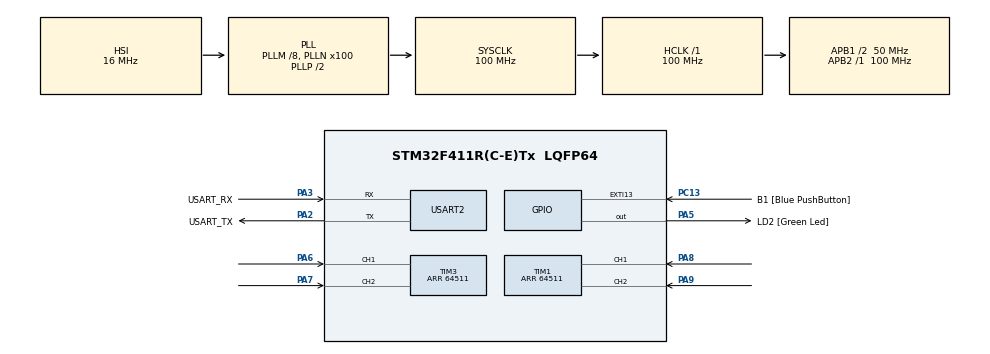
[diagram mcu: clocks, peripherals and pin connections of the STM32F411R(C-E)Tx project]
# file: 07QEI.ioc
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Mcu.Family=STM32F4
Mcu.Name=STM32F411R(C-E)Tx
Mcu.Package=LQFP64
NVIC.PriorityGroup=NVIC_PRIORITYGROUP_0
PA13.GPIO_Label=TMS
PA13.Mode=Serial_Wire
PA13.Signal=SYS_JTMS-SWDIO
PA14.GPIO_Label=TCK
PA14.Mode=Serial_Wire
PA14.Signal=SYS_JTCK-SWCLK
PA2.GPIO_Label=USART_TX
PA2.Mode=Asynchronous
PA2.Signal=USART2_TX
PA3.GPIO_Label=USART_RX
PA3.Mode=Asynchronous
PA3.Signal=USART2_RX
PA5.GPIO_Label=LD2 [Green Led]
PA5.Signal=GPIO_Output
PA6.Signal=S_TIM3_CH1
PA7.Signal=S_TIM3_CH2
PA8.Signal=S_TIM1_CH1
PA9.Signal=S_TIM1_CH2
PB3.GPIO_Label=SWO
PB3.Signal=SYS_JTDO-SWO
PC13-ANTI_TAMP.GPIO_Label=B1 [Blue PushButton]
PC13-ANTI_TAMP.GPIO_ModeDefaultEXTI=GPIO_MODE_IT_FALLING
PC13-ANTI_TAMP.Signal=GPXTI13
PC14-OSC32_IN.Mode=LSE-External-Oscillator
PC14-OSC32_IN.Signal=RCC_OSC32_IN
PC15-OSC32_OUT.Mode=LSE-External-Oscillator
PC15-OSC32_OUT.Signal=RCC_OSC32_OUT
PH0\ -\ OSC_IN.Mode=HSE-External-Clock-Source
PH0\ -\ OSC_IN.Signal=RCC_OSC_IN
PH1\ -\ OSC_OUT.Mode=HSE-External-Clock-Source
PH1\ -\ OSC_OUT.Signal=RCC_OSC_OUT
ProjectManager.HeapSize=0x200
ProjectManager.StackSize=0x400
ProjectManager.TargetToolchain=STM32CubeIDE
RCC.48MHZClocksFreq_Value=50000000
RCC.AHBFreq_Value=100000000
RCC.APB1CLKDivider=RCC_HCLK_DIV2
RCC.APB1Freq_Value=50000000
RCC.APB1TimFreq_Value=100000000
RCC.APB2Freq_Value=100000000
RCC.APB2TimFreq_Value=100000000
RCC.CortexFreq_Value=100000000
RCC.FLatency-AdvancedSettings=FLASH_LATENCY_3
RCC.HCLKFreq_Value=100000000
RCC.HSE_VALUE=8000000
RCC.HSI_VALUE=16000000
RCC.PLLM=8
RCC.PLLN=100
RCC.SYSCLKFreq_VALUE=100000000
RCC.SYSCLKSource=RCC_SYSCLKSOURCE_PLLCLK
RCC.VCOOutputFreq_Value=200000000
SH.S_TIM1_CH1.0=TIM1_CH1,Encoder_Interface
SH.S_TIM1_CH2.0=TIM1_CH2,Encoder_Interface
SH.S_TIM3_CH1.0=TIM3_CH1,Encoder_Interface
SH.S_TIM3_CH2.0=TIM3_CH2,Encoder_Interface
TIM1.EncoderMode=TIM_ENCODERMODE_TI12
TIM1.Period=64511
TIM2.Prescaler=100
TIM3.EncoderMode=TIM_ENCODERMODE_TI12
TIM3.Period=64511
USART2.VirtualMode=VM_ASYNC
VP_TIM2_VS_ClockSourceINT.Mode=Internal
board=NUCLEO-F411RE

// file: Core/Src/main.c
/* USER CODE BEGIN Header */
/**
 ******************************************************************************
 * @file           : main.c
 * @brief          : Main program body
 ******************************************************************************
 * @attention
 *
 * <h2><center>&copy; Copyright (c) 2021 STMicroelectronics.
 * All rights reserved.</center></h2>
 *
 * This software component is licensed by ST under BSD 3-Clause license,
 * the "License"; You may not use this file except in compliance with the
 * License. You may obtain a copy of the License at:
 *                        opensource.org/licenses/BSD-3-Clause
 *
 ******************************************************************************
 */
/* USER CODE END Header */
#include "main.h"

/* USER CODE BEGIN Includes */
#define _USE_MATH_DEFINES
#include "math.h"
/* USER CODE END Includes */

/* USER CODE BEGIN PD */
#define PulsePerRev 3072 //12[encoder fin] * 64[gearbox] * 4[QEI]

/* USER CODE END PD */

TIM_HandleTypeDef htim1;
TIM_HandleTypeDef htim2;
TIM_HandleTypeDef htim3;

UART_HandleTypeDef huart2;

/* USER CODE BEGIN PV */
uint64_t _micros = 0;
float DegRel =0;
float DegAbs =0;
float RadRel =0;
float RadAbs =0;

/* USER CODE END PV */

void SystemClock_Config(void);
static void MX_GPIO_Init(void);
static void MX_USART2_UART_Init(void);
static void MX_TIM1_Init(void);
static void MX_TIM2_Init(void);
static void MX_TIM3_Init(void);
/* USER CODE BEGIN PFP */
uint64_t micros();
void UpdatePosition();
/* USER CODE END PFP */

int main(void)
{

  /* MCU Configuration--------------------------------------------------------*/

  /* Reset of all peripherals, Initializes the Flash interface and the Systick. */
  HAL_Init();

  /* Configure the system clock */
  SystemClock_Config();

  /* Initialize all configured peripherals */
  MX_GPIO_Init();
  MX_USART2_UART_Init();
  MX_TIM1_Init();
  MX_TIM2_Init();
  MX_TIM3_Init();
  /* USER CODE BEGIN 2 */
	HAL_TIM_Base_Start_IT(&htim2);
	HAL_TIM_Encoder_Start(&htim1, TIM_CHANNEL_ALL);
  /* USER CODE END 2 */

  /* Infinite loop */
	while (1)
	{

    /* USER CODE BEGIN 3 */
		UpdatePosition();

	}
  /* USER CODE END 3 */
}

void SystemClock_Config(void)
{
  RCC_OscInitTypeDef RCC_OscInitStruct = {0};
  RCC_ClkInitTypeDef RCC_ClkInitStruct = {0};

  /** Configure the main internal regulator output voltage
  */
  __HAL_RCC_PWR_CLK_ENABLE();
  __HAL_PWR_VOLTAGESCALING_CONFIG(PWR_REGULATOR_VOLTAGE_SCALE1);
  /** Initializes the RCC Oscillators according to the specified parameters
  * in the RCC_OscInitTypeDef structure.
  */
  RCC_OscInitStruct.OscillatorType = RCC_OSCILLATORTYPE_HSI;
  RCC_OscInitStruct.HSIState = RCC_HSI_ON;
  RCC_OscInitStruct.HSICalibrationValue = RCC_HSICALIBRATION_DEFAULT;
  RCC_OscInitStruct.PLL.PLLState = RCC_PLL_ON;
  RCC_OscInitStruct.PLL.PLLSource = RCC_PLLSOURCE_HSI;
  RCC_OscInitStruct.PLL.PLLM = 8;
  RCC_OscInitStruct.PLL.PLLN = 100;
  RCC_OscInitStruct.PLL.PLLP = RCC_PLLP_DIV2;
  RCC_OscInitStruct.PLL.PLLQ = 4;
  if (HAL_RCC_OscConfig(&RCC_OscInitStruct) != HAL_OK)
  {
    Error_Handler();
  }
  /** Initializes the CPU, AHB and APB buses clocks
  */
  RCC_ClkInitStruct.ClockType = RCC_CLOCKTYPE_HCLK|RCC_CLOCKTYPE_SYSCLK
                              |RCC_CLOCKTYPE_PCLK1|RCC_CLOCKTYPE_PCLK2;
  RCC_ClkInitStruct.SYSCLKSource = RCC_SYSCLKSOURCE_PLLCLK;
  RCC_ClkInitStruct.AHBCLKDivider = RCC_SYSCLK_DIV1;
  RCC_ClkInitStruct.APB1CLKDivider = RCC_HCLK_DIV2;
  RCC_ClkInitStruct.APB2CLKDivider = RCC_HCLK_DIV1;

  if (HAL_RCC_ClockConfig(&RCC_ClkInitStruct, FLASH_LATENCY_3) != HAL_OK)
  {
    Error_Handler();
  }
}

static void MX_TIM1_Init(void)
{

  TIM_Encoder_InitTypeDef sConfig = {0};
  TIM_MasterConfigTypeDef sMasterConfig = {0};

  htim1.Instance = TIM1;
  htim1.Init.Prescaler = 0;
  htim1.Init.CounterMode = TIM_COUNTERMODE_UP;
  htim1.Init.Period = 64511;
  htim1.Init.ClockDivision = TIM_CLOCKDIVISION_DIV1;
  htim1.Init.RepetitionCounter = 0;
  htim1.Init.AutoReloadPreload = TIM_AUTORELOAD_PRELOAD_DISABLE;
  sConfig.EncoderMode = TIM_ENCODERMODE_TI12;
  sConfig.IC1Polarity = TIM_ICPOLARITY_RISING;
  sConfig.IC1Selection = TIM_ICSELECTION_DIRECTTI;
  sConfig.IC1Prescaler = TIM_ICPSC_DIV1;
  sConfig.IC1Filter = 0;
  sConfig.IC2Polarity = TIM_ICPOLARITY_RISING;
  sConfig.IC2Selection = TIM_ICSELECTION_DIRECTTI;
  sConfig.IC2Prescaler = TIM_ICPSC_DIV1;
  sConfig.IC2Filter = 0;
  if (HAL_TIM_Encoder_Init(&htim1, &sConfig) != HAL_OK)
  {
    Error_Handler();
  }
  sMasterConfig.MasterOutputTrigger = TIM_TRGO_RESET;
  sMasterConfig.MasterSlaveMode = TIM_MASTERSLAVEMODE_DISABLE;
  if (HAL_TIMEx_MasterConfigSynchronization(&htim1, &sMasterConfig) != HAL_OK)
  {
    Error_Handler();
  }

}

static void MX_TIM2_Init(void)
{

  TIM_ClockConfigTypeDef sClockSourceConfig = {0};
  TIM_MasterConfigTypeDef sMasterConfig = {0};

  htim2.Instance = TIM2;
  htim2.Init.Prescaler = 100;
  htim2.Init.CounterMode = TIM_COUNTERMODE_UP;
  htim2.Init.Period = 4294967295;
  htim2.Init.ClockDivision = TIM_CLOCKDIVISION_DIV1;
  htim2.Init.AutoReloadPreload = TIM_AUTORELOAD_PRELOAD_DISABLE;
  if (HAL_TIM_Base_Init(&htim2) != HAL_OK)
  {
    Error_Handler();
  }
  sClockSourceConfig.ClockSource = TIM_CLOCKSOURCE_INTERNAL;
  if (HAL_TIM_ConfigClockSource(&htim2, &sClockSourceConfig) != HAL_OK)
  {
    Error_Handler();
  }
  sMasterConfig.MasterOutputTrigger = TIM_TRGO_RESET;
  sMasterConfig.MasterSlaveMode = TIM_MASTERSLAVEMODE_DISABLE;
  if (HAL_TIMEx_MasterConfigSynchronization(&htim2, &sMasterConfig) != HAL_OK)
  {
    Error_Handler();
  }

}

static void MX_TIM3_Init(void)
{

  TIM_Encoder_InitTypeDef sConfig = {0};
  TIM_MasterConfigTypeDef sMasterConfig = {0};

  htim3.Instance = TIM3;
  htim3.Init.Prescaler = 0;
  htim3.Init.CounterMode = TIM_COUNTERMODE_UP;
  htim3.Init.Period = 64511;
  htim3.Init.ClockDivision = TIM_CLOCKDIVISION_DIV1;
  htim3.Init.AutoReloadPreload = TIM_AUTORELOAD_PRELOAD_DISABLE;
  sConfig.EncoderMode = TIM_ENCODERMODE_TI12;
  sConfig.IC1Polarity = TIM_ICPOLARITY_RISING;
  sConfig.IC1Selection = TIM_ICSELECTION_DIRECTTI;
  sConfig.IC1Prescaler = TIM_ICPSC_DIV1;
  sConfig.IC1Filter = 0;
  sConfig.IC2Polarity = TIM_ICPOLARITY_RISING;
  sConfig.IC2Selection = TIM_ICSELECTION_DIRECTTI;
  sConfig.IC2Prescaler = TIM_ICPSC_DIV1;
  sConfig.IC2Filter = 0;
  if (HAL_TIM_Encoder_Init(&htim3, &sConfig) != HAL_OK)
  {
    Error_Handler();
  }
  sMasterConfig.MasterOutputTrigger = TIM_TRGO_RESET;
  sMasterConfig.MasterSlaveMode = TIM_MASTERSLAVEMODE_DISABLE;
  if (HAL_TIMEx_MasterConfigSynchronization(&htim3, &sMasterConfig) != HAL_OK)
  {
    Error_Handler();
  }

}

static void MX_USART2_UART_Init(void)
{

  huart2.Instance = USART2;
  huart2.Init.BaudRate = 115200;
  huart2.Init.WordLength = UART_WORDLENGTH_8B;
  huart2.Init.StopBits = UART_STOPBITS_1;
  huart2.Init.Parity = UART_PARITY_NONE;
  huart2.Init.Mode = UART_MODE_TX_RX;
  huart2.Init.HwFlowCtl = UART_HWCONTROL_NONE;
  huart2.Init.OverSampling = UART_OVERSAMPLING_16;
  if (HAL_UART_Init(&huart2) != HAL_OK)
  {
    Error_Handler();
  }

}

static void MX_GPIO_Init(void)
{
  GPIO_InitTypeDef GPIO_InitStruct = {0};

  /* GPIO Ports Clock Enable */
  __HAL_RCC_GPIOC_CLK_ENABLE();
  __HAL_RCC_GPIOH_CLK_ENABLE();
  __HAL_RCC_GPIOA_CLK_ENABLE();
  __HAL_RCC_GPIOB_CLK_ENABLE();

  /*Configure GPIO pin Output Level */
  HAL_GPIO_WritePin(LD2_GPIO_Port, LD2_Pin, GPIO_PIN_RESET);

  /*Configure GPIO pin : B1_Pin */
  GPIO_InitStruct.Pin = B1_Pin;
  GPIO_InitStruct.Mode = GPIO_MODE_IT_FALLING;
  GPIO_InitStruct.Pull = GPIO_NOPULL;
  HAL_GPIO_Init(B1_GPIO_Port, &GPIO_InitStruct);

  /*Configure GPIO pin : LD2_Pin */
  GPIO_InitStruct.Pin = LD2_Pin;
  GPIO_InitStruct.Mode = GPIO_MODE_OUTPUT_PP;
  GPIO_InitStruct.Pull = GPIO_NOPULL;
  GPIO_InitStruct.Speed = GPIO_SPEED_FREQ_LOW;
  HAL_GPIO_Init(LD2_GPIO_Port, &GPIO_InitStruct);

}

/* USER CODE BEGIN 4 */
void UpdatePosition()
{
	static uint64_t TimestampCalcualtionLoop=0;
			if(micros()-TimestampCalcualtionLoop >= 1000 )
			{
				uint16_t RawRead = TIM1->CNT;
				DegRel = (RawRead/3072.0)*360.0;
				DegAbs = ((RawRead % 3072)/3072.0)*360.0;
				RadRel = (RawRead/3072.0)*(2*M_PI);
				RadAbs = ((RawRead % 3072)/3072.0)*(2*M_PI);
			}

}

void HAL_TIM_PeriodElapsedCallback(TIM_HandleTypeDef *htim)
{
	if (htim == &htim2)
	{
		_micros += 4294967295;
	}
}
uint64_t micros()
{
	return _micros + htim2.Instance->CNT;
}
/* USER CODE END 4 */

void Error_Handler(void)
{
	__disable_irq();
	while (1)
	{
	}
}
